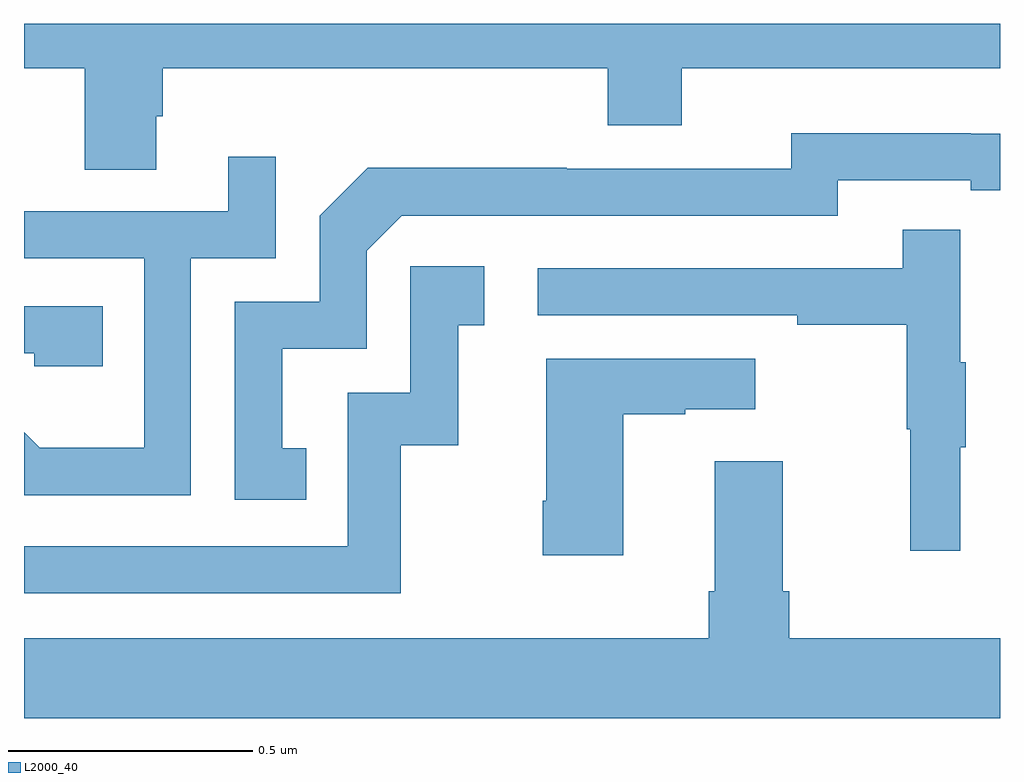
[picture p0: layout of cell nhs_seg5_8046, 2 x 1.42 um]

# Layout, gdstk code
import gdstk
lib = gdstk.Library(unit=1e-6, precision=1e-09)
def P(c, l, *ps):  # polygons
    for p in ps: c.add(gdstk.Polygon(p, *l))
L2000_40 = (2000, 40)

nhs_seg5_8046 = lib.new_cell('nhs_seg5_8046')
P(nhs_seg5_8046, L2000_40, [(216.271,908.61),(216.284,908.61),(216.284,908.708),(217.196,908.708),(217.196,908.591),(217.348,908.591),(217.348,908.708),(218,908.708),(218,908.799),(216,908.799),(216,908.708),(216.124,908.708),(216.124,908.5),(216.271,908.5)],
  [(216.578,907.929),(216.529,907.929),(216.529,908.133),(216.702,908.133),(216.702,908.334),(216.774,908.406),(217.668,908.406),(217.668,908.478),(217.94,908.478),(217.94,908.458),(218,908.458),(218,908.574),(217.94,908.574),(217.94,908.575),(217.572,908.575),(217.572,908.502),(217.112,908.502),(217.112,908.504),(216.704,908.504),(216.606,908.406),(216.606,908.229),(216.432,908.229),(216.432,907.824),(216.578,907.824)],
  [(216.342,908.319),(216.516,908.319),(216.516,908.527),(216.419,908.527),(216.419,908.415),(216,908.415),(216,908.319),(216.246,908.319),(216.246,907.93),(216.032,907.93),(216,907.962),(216,907.833),(216.342,907.833)],
  [(217.919,907.931),(217.93,907.931),(217.93,908.105),(217.919,908.105),(217.919,908.377),(217.801,908.377),(217.801,908.298),(217.053,908.298),(217.053,908.202),(217.585,908.202),(217.585,908.182),(217.809,908.182),(217.809,907.968),(217.816,907.968),(217.816,907.719),(217.919,907.719)],
  [(216.772,907.935),(216.89,907.935),(216.89,908.181),(216.943,908.181),(216.943,908.302),(216.792,908.302),(216.792,908.043),(216.663,908.043),(216.663,907.728),(216,907.728),(216,907.632),(216.772,907.632)],
  [(216.161,908.22),(216,908.22),(216,908.124),(216.021,908.124),(216.021,908.097),(216.161,908.097)],
  [(217.228,907.999),(217.355,907.999),(217.355,908.009),(217.498,908.009),(217.498,908.113),(217.07,908.113),(217.07,907.822),(217.063,907.822),(217.063,907.71),(217.228,907.71)],
  [(218,907.54),(217.568,907.54),(217.568,907.636),(217.555,907.636),(217.555,907.903),(217.415,907.903),(217.415,907.636),(217.403,907.636),(217.403,907.54),(216,907.54),(216,907.376),(218,907.376)])

lib.write_gds('nhs_seg5_8046.gds')
